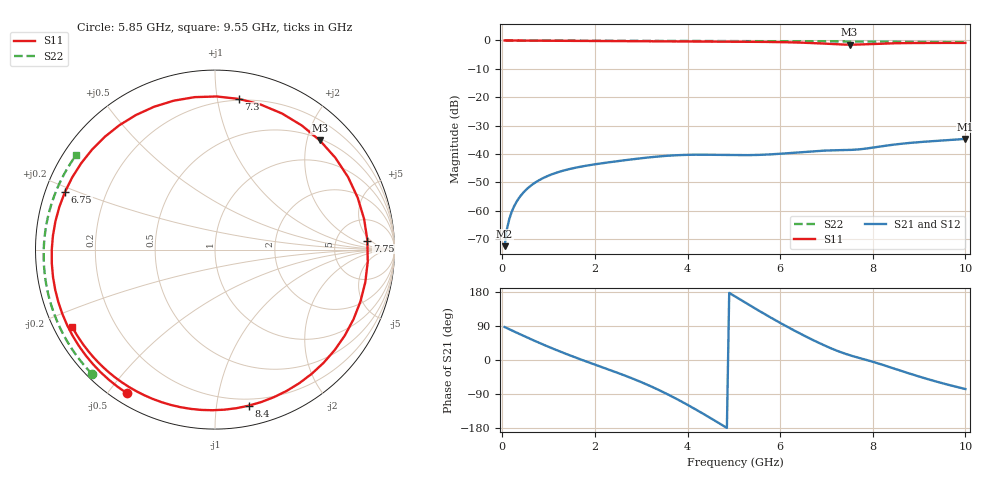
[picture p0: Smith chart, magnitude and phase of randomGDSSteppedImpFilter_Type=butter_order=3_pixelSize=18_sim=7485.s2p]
! freq	dB(S11)	phase(S11)	dB(S12)	phase(S12)
!  dB(S21)	phase(S21)	dB(S22)	phase(S22)
!S-par simulation data
#  GHz  S  DB  R 50
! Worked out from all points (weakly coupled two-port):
!   200 points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, 50 MHz to 10 GHz, reference 50 ohm
!   highest |S21| = -34.72 dB at 10 GHz (marker M1); lowest = -72.5 dB at 50 MHz (marker M2)
!   lowest |S11| = -1.5 dB at 7.5 GHz (marker M3), VSWR 11.76, Z = 26.6 + j112 ohm
!   |S11| at or under -10 dB: nowhere
!   |S22| runs from -0.6 to 0.0 dB; largest |S21 - S12| = 0
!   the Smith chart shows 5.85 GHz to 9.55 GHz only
!   S11 on the Smith chart (normalised r, x): 5.85 GHz: 0.04, -0.56; 6.75 GHz: 0.06, +0.19; 7.3 GHz: 0.19, +1.15; 7.75 GHz: 11, +4; 8.4 GHz: 0.15, -1.23; 9.55 GHz: 0.05, -0.25
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0.05  -0.00 -4.5  -72.55 87.1  -72.55 87.1  -0.00 -1.3
0.15  -0.02 -13.5  -63.04 81.2  -63.04 81.2  -0.01 -3.9
0.3  -0.04 -26.9  -57.12 72.7  -57.12 72.7  -0.01 -7.7
0.9  -0.10 -78.5  -48.38 39.9  -48.38 39.9  -0.03 -23.0
1.75  -0.16 -146.1  -44.34 -1.1  -44.34 -1.1  -0.06 -44.1
2.5  -0.21 155.6  -42.54 -34.3  -42.54 -34.3  -0.08 -62.1
3  -0.25 114.3  -41.54 -58.3  -41.54 -58.3  -0.09 -73.7
3.4  -0.29 79.2  -40.87 -80.3  -40.87 -80.3  -0.11 -82.7
4.2  -0.36 7.2  -40.29 -132.1  -40.29 -132.1  -0.14 -100.3
5.05  -0.43 -62.7  -40.46 166.0  -40.46 166.0  -0.18 -118.2
5.85  -0.55 -121.7  -40.12 108.3  -40.12 108.3  -0.22 -134.6
6.35  -0.72 -161.5  -39.52 74.9  -39.52 74.9  -0.26 -144.8
6.7  -0.92 164.5  -39.08 53.2  -39.08 53.2  -0.29 -151.9
6.75  -0.96 159.0  -39.03 50.2  -39.03 50.2  -0.29 -152.9
7.3  -1.41 81.1  -38.70 21.0  -38.70 21.0  -0.34 -164.3
7.5  -1.48 46.2  -38.61 12.8  -38.61 12.8  -0.35 -168.4
7.75  -1.40 3.4  -38.33 4.0  -38.33 4.0  -0.38 -173.7
8.05  -1.20 -40.0  -37.67 -6.5  -37.67 -6.5  -0.41 179.9
8.35  -1.04 -73.2  -36.96 -18.1  -36.96 -18.1  -0.44 173.4
8.4  -1.01 -77.9  -36.85 -20.1  -36.85 -20.1  -0.44 172.3
9.55  -0.87 -151.4  -35.23 -62.8  -35.23 -62.8  -0.58 145.8
10  -0.87 -171.6  -34.72 -76.6  -34.72 -76.6  -0.63 134.6
